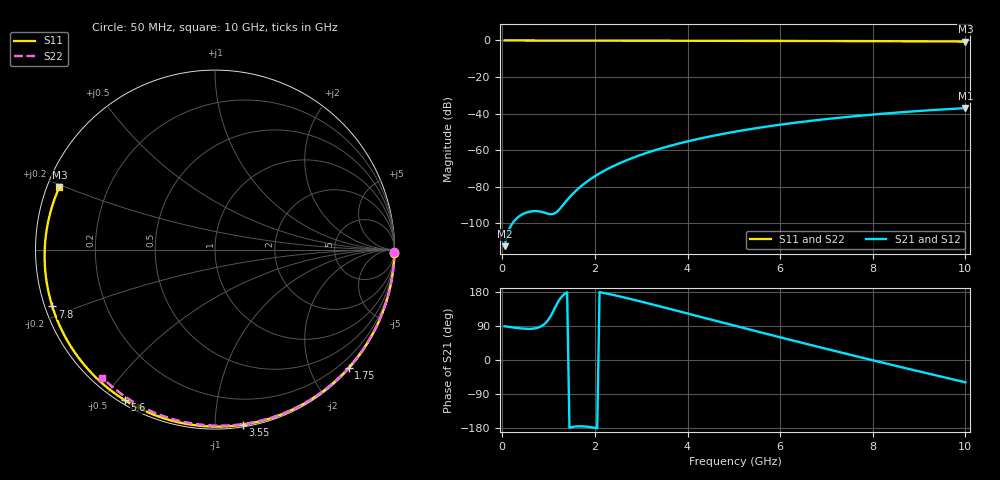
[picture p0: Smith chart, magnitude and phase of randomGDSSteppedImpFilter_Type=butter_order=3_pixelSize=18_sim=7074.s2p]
! freq	dB(S11)	phase(S11)	dB(S12)	phase(S12)
!  dB(S21)	phase(S21)	dB(S22)	phase(S22)
!S-par simulation data
#  GHz  S  DB  R 50
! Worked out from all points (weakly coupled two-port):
!   200 points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, 50 MHz to 10 GHz, reference 50 ohm
!   highest |S21| = -37.05 dB at 10 GHz (marker M1); lowest = -112.6 dB at 50 MHz (marker M2)
!   lowest |S11| = -0.6 dB at 10 GHz (marker M3), VSWR 29.54, Z = 1.76 + j9.64 ohm
!   |S11| at or under -10 dB: nowhere
!   |S22| runs from -0.4 to 0.0 dB; largest |S21 - S12| = 0
!   S11 on the Smith chart (normalised r, x): 50 MHz: 0, -94; 1.75 GHz: 0.02, -2.64; 3.55 GHz: 0.01, -1.17; 5.6 GHz: 0.01, -0.57; 7.8 GHz: 0.02, -0.17; 10 GHz: 0.04, +0.19
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0.05  -0.00 -1.2  -112.58 89.1  -112.58 89.1  -0.00 -0.8
0.4  -0.01 -9.7  -95.64 83.4  -95.64 83.4  -0.01 -6.1
0.8  -0.02 -19.3  -93.56 86.6  -93.56 86.6  -0.02 -12.1
1.2  -0.04 -28.7  -93.32 152.5  -93.32 152.5  -0.02 -18.0
1.65  -0.05 -39.2  -80.86 -174.9  -80.86 -174.9  -0.03 -24.7
1.7  -0.05 -40.4  -79.78 -174.9  -79.78 -174.9  -0.03 -25.4
1.75  -0.05 -41.5  -78.75 -175.2  -78.75 -175.2  -0.03 -26.2
2.05  -0.06 -48.4  -73.51 -179.8  -73.51 -179.8  -0.04 -30.6
2.45  -0.07 -57.3  -68.15 170.2  -68.15 170.2  -0.05 -36.4
2.9  -0.09 -67.1  -63.45 157.1  -63.45 157.1  -0.06 -42.8
3.4  -0.10 -77.8  -59.27 141.7  -59.27 141.7  -0.07 -49.9
3.55  -0.11 -80.9  -58.18 137.0  -58.18 137.0  -0.07 -51.9
4.3  -0.13 -96.1  -53.50 113.2  -53.50 113.2  -0.09 -62.2
5.05  -0.17 -110.6  -49.81 89.5  -49.81 89.5  -0.11 -72.2
5.6  -0.19 -120.9  -47.55 72.3  -47.55 72.3  -0.13 -79.3
6.15  -0.23 -131.0  -45.59 55.2  -45.59 55.2  -0.15 -86.2
6.7  -0.26 -141.0  -43.86 38.3  -43.86 38.3  -0.18 -93.0
7.25  -0.31 -150.9  -42.35 21.7  -42.35 21.7  -0.21 -99.6
7.8  -0.35 -160.7  -41.00 5.2  -41.00 5.2  -0.25 -106.2
8.35  -0.41 -170.7  -39.82 -11.1  -39.82 -11.1  -0.29 -112.6
9.2  -0.50 173.6  -38.25 -35.9  -38.25 -35.9  -0.36 -122.3
10  -0.59 158.1  -37.05 -58.8  -37.05 -58.8  -0.44 -131.3
